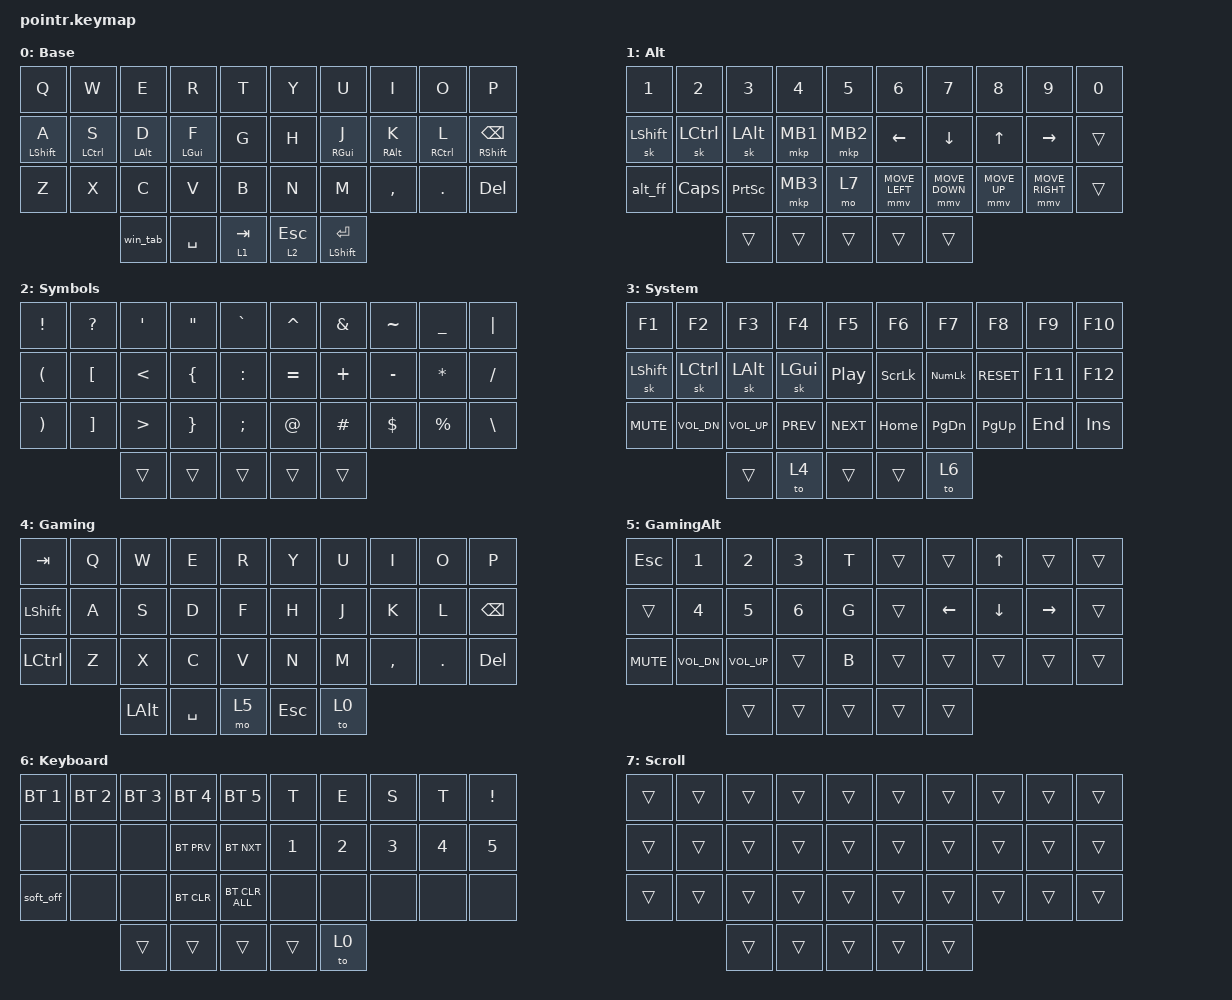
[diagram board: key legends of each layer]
#include <behaviors.dtsi>
#include <dt-bindings/zmk/keys.h>
#include <dt-bindings/zmk/mouse.h>
#include <dt-bindings/zmk/bt.h>
#include <dt-bindings/zmk/ext_power.h>
#include <dt-bindings/zmk/outputs.h>
#include "mouse.dtsi"


#define COMBO(NAME, BINDINGS, KEYPOS) \
combo_##NAME { \
    timeout-ms = <50>; \
    bindings = <BINDINGS>; \
    key-positions = <KEYPOS>; \
    layers = <0>; \
};

#define BASE 0
#define ALT 1
#define SYMBOLS 2
#define SYSTEM 3
#define GAMING 4
#define GAMINGALT 5
#define KEYBOARD 6
#define SCROLL 7

// Behavior Overrides
&lt {
  tapping-term-ms = <200>;
  flavor = "hold-preferred";
};

&soft_off {
  hold-time-ms = <5000>; // Only turn off it the key is held for 5 seconds or longer.
};

/ {
  macros {
    // Alt + Tab
    alt_tab: alt_tab {
      compatible = "zmk,behavior-macro";
      #binding-cells = <0>;
      bindings = <&macro_press &kp LALT>, <&macro_tap &kp TAB>, <&macro_release &kp LALT>;
    };
    // Ctrl + Alt + Del
    ctrl_alt_del: ctrl_alt_del {
      compatible = "zmk,behavior-macro";
      #binding-cells = <0>;
      bindings = <&macro_press &kp LCTRL &kp LALT>, <&macro_tap &kp DEL>, <&macro_release &kp LCTRL &kp LALT>;
    };
    // Alt + F4
    alt_ff: alt_ff {
      compatible = "zmk,behavior-macro";
      #binding-cells = <0>;
      bindings = <&macro_press &kp LALT>, <&macro_tap &kp F4>, <&macro_release &kp LALT>;
    };
    // Win + Tab
    win_tab: win_tab {
      compatible = "zmk,behavior-macro";
      #binding-cells = <0>;
      bindings = <&macro_press &kp LGUI>, <&macro_tap &kp TAB>, <&macro_release &kp LGUI>;
    };
    // Vim Exit
    vim_exit: vim_exit {
      compatible = "zmk,behavior-macro";
      #binding-cells = <0>;
      bindings = <&macro_tap     &kp COLON &kp Q>;
    };
    // Vim Write
    vim_write: vim_write {
      compatible = "zmk,behavior-macro";
      #binding-cells = <0>;
      bindings = <&macro_tap     &kp COLON &kp W>;
    };
  };

  conditional_layers {
    compatible = "zmk,conditional-layers";
    tri_layer {
      if-layers = <1 2>;
      then-layer = <3>;
    };
  };

  combos {
    compatible = "zmk,combos";

    //   0  1  2  3  4 		 5  6  7  8  9
    //  10 11 12 13 14 		15 16 17 18 19
    //  20 21 22 23 24 		25 26 27 28 29
    //        30 31 32		33 34 35

    COMBO(to_layer,&to 4,31 32 33 34)
    COMBO(escape0,&kp ESC, 0 1)
    COMBO(escape1,&kp ESC, 1 2)
    COMBO(escape2,&kp ESC,7 8)
    COMBO(tab1,&kp TAB,2 3)
    COMBO(tab2,&kp TAB,6 7)
    COMBO(vim_exit,&vim_exit,25 26)
    COMBO(vim_write,&vim_write,26 27)
  };

  behaviors {
    lhm: left_homerow_mods {  
      compatible = "zmk,behavior-hold-tap";
      #binding-cells = <2>;
      flavor = "hold-preferred";
      require-prior-idle-ms = <100>;
      tapping-term-ms = <180>;
      quick-tap-ms = <200>;
      bindings = <&kp>, <&kp>;
      hold-trigger-key-positions = <16 17 18 19>; // right-hand home row mod positions
      hold-trigger-on-release;
    };
    rhm: right_homerow_mods {  
      compatible = "zmk,behavior-hold-tap";
      #binding-cells = <2>;
      flavor = "hold-preferred";
      require-prior-idle-ms = <100>;
      tapping-term-ms = <180>;
      quick-tap-ms = <200>;
      bindings = <&kp>, <&kp>;
      hold-trigger-key-positions = <10 11 12 13>; // left-hand home row mod positions
      hold-trigger-on-release;
    };
    rh_bs: right_homerow_backspace {  
      compatible = "zmk,behavior-hold-tap";
      #binding-cells = <2>;
      flavor = "hold-preferred";
      tapping-term-ms = <180>;
      quick-tap-ms = <200>; 
      bindings = <&kp>, <&kp>;
      hold-trigger-key-positions = <10 11 12 13>; // Keep left hand triggers
      hold-trigger-on-release;
      // Notice: require-prior-idle-ms is completely removed here
    };
    ent: enter_mods {  
      compatible = "zmk,behavior-hold-tap";
      #binding-cells = <2>;
      tapping-term-ms = <200>;
      quick-tap-ms = <0>;
      flavor = "hold-preferred";
      bindings = <&kp>, <&kp>;
    };
    td_g0: tap_dance_gaming_0 {
      compatible = "zmk,behavior-tap-dance";
      #binding-cells = <0>;
      tapping-term-ms = <200>;
      bindings = <&kp N1>, <&kp N2>, <&kp N3>;
    };
    td_mouse_alt: tap_dance_mouse_0 {
      compatible = "zmk,behavior-tap-dance";
      #binding-cells = <0>;
      tapping-term-ms = <200>;
      bindings = <&mkp MB2>, <&mkp MB3>;
    };
  };

  keymap {
    compatible = "zmk,keymap";

    base_layer {      display-name = "Base";
      bindings = <
        &kp Q         &kp W         &kp E       &kp R       &kp T         &kp Y     &kp U       &kp I       &kp O       &kp P
        &lhm LSHIFT A  &lhm LCTRL S   &lhm LALT D  &lhm LGUI F  &kp G     &kp H     &rhm RGUI J  &rhm RALT K  &rhm RCTRL L &rh_bs RSHIFT BSPC
        &kp Z         &kp X         &kp C       &kp V       &kp B         &kp N     &kp M       &kp COMMA   &kp DOT     &kp DEL 
                                    &win_tab    &kp SPACE   &lt 1 TAB     &lt 2 ESC &ent LSHIFT ENTER   
      > ;
    };
    alt_layer {
      display-name = "Alt";
      bindings = <
        &kp N1      &kp N2      &kp N3      &kp  N4     &kp N5            &kp N6          &kp N7          &kp N8          &kp N9          &kp N0
        &sk LSHIFT  &sk LCTRL   &sk LALT    &mkp MB1    &mkp MB2          &kp LEFT        &kp DOWN        &kp UP          &kp RIGHT       &trans      
        &alt_ff     &kp CAPS    &kp PSCRN   &mkp MB3    &mo 7             &mmv MOVE_LEFT  &mmv MOVE_DOWN  &mmv MOVE_UP    &mmv MOVE_RIGHT &trans
                                &trans      &trans      &trans            &trans          &trans          
      >;

    };
    symbols_layer {
      display-name = "Symbols";
      bindings = <
        &kp EXCL     &kp QMARK    &kp SQT     &kp DQT     &kp GRAVE      &kp CARET     &kp AMPS      &kp TILDE     &kp UNDER     &kp PIPE
        &kp LPAR     &kp LBKT     &kp LT      &kp LBRC    &kp COLON      &kp EQUAL     &kp PLUS      &kp MINUS     &kp STAR     &kp FSLH
        &kp RPAR     &kp RBKT     &kp GT      &kp RBRC    &kp SEMI       &kp AT        &kp POUND     &kp DLLR     &kp PRCNT     &kp BSLH
                                  &trans      &trans      &trans         &trans        &trans        
      >;

    };
    system_layer {
      display-name = "System";
      bindings = <
        &kp F1      &kp F2        &kp F3        &kp F4      &kp F5        &kp F6       &kp F7        &kp F8        &kp F9      &kp F10
        &sk LSHIFT  &sk LCTRL     &sk LALT      &sk LGUI    &kp C_PP      &kp SLCK     &kp KP_NUM    &kp C_RESET   &kp F11     &kp F12
        &kp C_MUTE  &kp C_VOL_DN  &kp C_VOL_UP  &kp C_PREV  &kp C_NEXT    &kp HOME     &kp PG_DN     &kp PG_UP     &kp END     &kp INSERT
                                  &trans        &to 4       &trans        &trans       &to 6         
      >;
    };
    gaming_layer {
      display-name = "Gaming";
      bindings = <
        &kp TAB    &kp Q    &kp W     &kp E     &kp R     &kp Y     &kp U     &kp I     &kp O      &kp P
        &kp LSHIFT &kp A    &kp S     &kp D     &kp F     &kp H     &kp J     &kp K     &kp L      &kp BSPC
        &kp LCTRL  &kp Z    &kp X     &kp C     &kp V     &kp N     &kp M     &kp COMMA &kp DOT    &kp DEL
                            &kp LALT  &kp SPACE &mo 5     &kp ESC   &to 0     
      >;
    };
    gaming_alt_layer {
      display-name = "GamingAlt";
      bindings = <
        &kp ESC    &kp N1       &kp N2       &kp N3      &kp T     &trans     &trans     &kp UP      &trans      &trans
        &trans     &kp N4       &kp N5       &kp N6      &kp G     &trans     &kp LEFT   &kp DOWN    &kp RIGHT   &trans
        &kp C_MUTE &kp C_VOL_DN &kp C_VOL_UP &trans      &kp B     &trans     &trans     &trans      &trans      &trans
        &trans     &trans     &trans     &trans      &trans    
      >;
    };
    keyboard_layer {
      display-name = "Keyboard";
      bindings = <
        &bt BT_SEL 1    &bt BT_SEL 2    &bt BT_SEL 3  &bt BT_SEL 4  &bt BT_SEL 5      &kp T   &kp E   &kp S   &kp T   &kp EXCL 
        &none           &none           &none         &bt BT_PRV    &bt BT_NXT        &kp N1  &kp N2  &kp N3  &kp N4  &kp N5
        &soft_off       &none           &none         &bt BT_CLR    &bt BT_CLR_ALL    &none   &none   &none   &none   &none
        &trans          &trans          &trans        &trans        &to 0             
      >;
    };
    scroll_layer {
      display-name = "Scroll";
      bindings = <
        &trans     &trans     &trans     &trans     &trans     &trans     &trans     &trans     &trans     &trans
        &trans     &trans     &trans     &trans     &trans     &trans     &trans     &trans     &trans     &trans
        &trans     &trans     &trans     &trans     &trans     &trans     &trans     &trans     &trans     &trans
                  &trans     &trans     &trans     &trans     &trans
      >;
    };
    
  };
};
